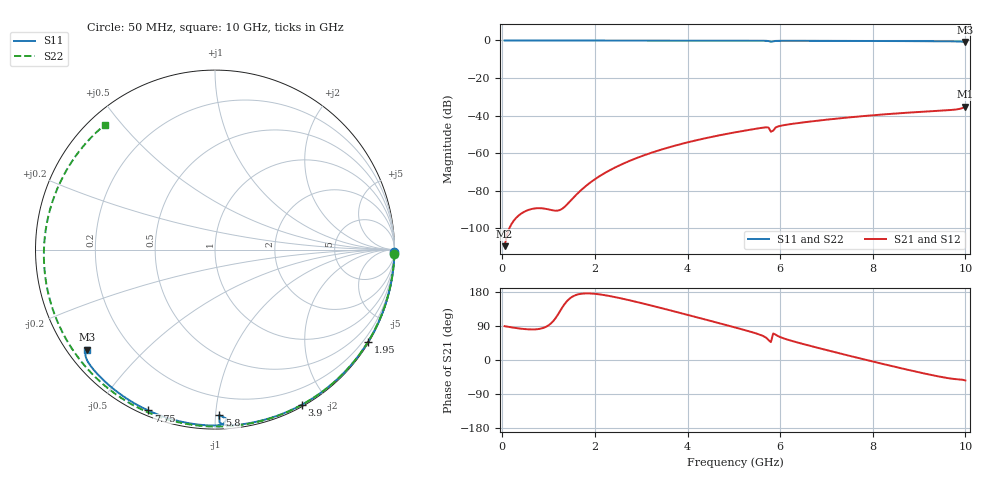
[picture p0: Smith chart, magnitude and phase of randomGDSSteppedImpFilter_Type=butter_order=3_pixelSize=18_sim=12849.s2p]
! freq	dB(S11)	phase(S11)	dB(S12)	phase(S12)
!  dB(S21)	phase(S21)	dB(S22)	phase(S22)
!S-par simulation data
#  GHz  S  DB  R 50
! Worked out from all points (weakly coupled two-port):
!   200 points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, 50 MHz to 10 GHz, reference 50 ohm
!   highest |S21| = -35.34 dB at 10 GHz (marker M1); lowest = -109.6 dB at 50 MHz (marker M2)
!   lowest |S11| = -0.9 dB at 10 GHz (marker M3), VSWR 20.20, Z = 2.77 - j17.2 ohm
!   |S11| at or under -10 dB: nowhere
!   |S22| runs from -0.7 to 0.0 dB; largest |S21 - S12| = 0
!   S11 on the Smith chart (normalised r, x): 50 MHz: open; 1.95 GHz: 0.03, -3.58; 3.9 GHz: 0.02, -1.71; 5.8 GHz: 0.08, -1.02; 7.75 GHz: 0.02, -0.67; 10 GHz: 0.06, -0.34
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0.05  -0.00 -0.8  -109.57 89.3  -109.57 89.3  -0.00 -1.3
0.8  -0.02 -12.9  -89.33 82.1  -89.33 82.1  -0.03 -19.9
1.65  -0.03 -26.5  -80.90 173.6  -80.90 173.6  -0.05 -40.5
1.75  -0.04 -28.1  -78.66 175.4  -78.66 175.4  -0.05 -42.9
1.95  -0.04 -31.2  -74.78 175.2  -74.78 175.2  -0.06 -47.7
2.25  -0.05 -35.9  -70.09 170.3  -70.09 170.3  -0.07 -54.7
2.6  -0.05 -41.3  -65.74 161.7  -65.74 161.7  -0.08 -62.8
3.4  -0.07 -53.4  -58.39 138.1  -58.39 138.1  -0.11 -80.9
3.9  -0.08 -60.8  -54.91 122.3  -54.91 122.3  -0.12 -91.8
5.05  -0.12 -77.3  -48.83 85.2  -48.83 85.2  -0.18 -116.2
5.7  -0.21 -87.2  -46.25 58.6  -46.25 58.6  -0.22 -129.7
5.75  -0.32 -88.5  -46.41 52.7  -46.41 52.7  -0.22 -130.8
5.8  -0.70 -88.5  -48.58 47.3  -48.58 47.3  -0.22 -131.8
5.85  -0.48 -86.0  -48.03 70.1  -48.03 70.1  -0.23 -132.8
5.9  -0.26 -87.1  -46.40 67.0  -46.40 67.0  -0.23 -133.9
6  -0.18 -89.2  -45.49 60.5  -45.49 60.5  -0.24 -136.0
6.7  -0.19 -99.0  -43.04 35.7  -43.04 35.7  -0.29 -150.5
7.75  -0.26 -112.6  -40.39 3.4  -40.39 3.4  -0.39 -173.1
8.35  -0.31 -120.1  -39.17 -14.3  -39.17 -14.3  -0.45 173.3
9.2  -0.39 -130.9  -37.79 -37.9  -37.79 -37.9  -0.55 152.7
9.8  -0.52 -139.2  -36.76 -50.7  -36.76 -50.7  -0.63 136.9
10  -0.86 -141.9  -35.34 -54.1  -35.34 -54.1  -0.65 131.4
